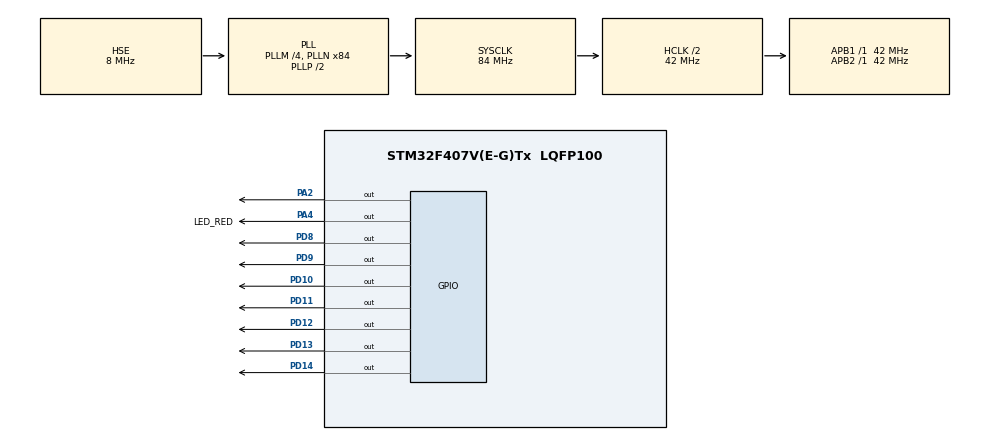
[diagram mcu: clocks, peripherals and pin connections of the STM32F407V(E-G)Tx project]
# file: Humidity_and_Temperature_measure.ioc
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Mcu.Family=STM32F4
Mcu.Name=STM32F407V(E-G)Tx
Mcu.Package=LQFP100
NVIC.PriorityGroup=NVIC_PRIORITYGROUP_4
NVIC.TIM2_IRQn=true\:0\:0\:false\:false\:true\:true\:true
PA13.Mode=Serial_Wire
PA13.Signal=SYS_JTMS-SWDIO
PA14.Mode=Serial_Wire
PA14.Signal=SYS_JTCK-SWCLK
PA2.Signal=GPIO_Output
PA4.GPIO_Label=LED_RED
PA4.Signal=GPIO_Output
PD10.Signal=GPIO_Output
PD11.Signal=GPIO_Output
PD12.Signal=GPIO_Output
PD13.Signal=GPIO_Output
PD14.Signal=GPIO_Output
PD8.Signal=GPIO_Output
PD9.Signal=GPIO_Output
PH0-OSC_IN.Mode=HSE-External-Oscillator
PH0-OSC_IN.Signal=RCC_OSC_IN
PH1-OSC_OUT.Mode=HSE-External-Oscillator
PH1-OSC_OUT.Signal=RCC_OSC_OUT
ProjectManager.HeapSize=0x200
ProjectManager.StackSize=0x400
ProjectManager.TargetToolchain=STM32CubeIDE
RCC.48MHZClocksFreq_Value=42000000
RCC.AHBCLKDivider=RCC_SYSCLK_DIV2
RCC.AHBFreq_Value=42000000
RCC.APB1Freq_Value=42000000
RCC.APB1TimFreq_Value=42000000
RCC.APB2Freq_Value=42000000
RCC.APB2TimFreq_Value=42000000
RCC.CortexFreq_Value=42000000
RCC.HCLKFreq_Value=42000000
RCC.HSE_VALUE=8000000
RCC.HSI_VALUE=16000000
RCC.LSE_VALUE=32768
RCC.PLLM=4
RCC.PLLN=84
RCC.PLLSourceVirtual=RCC_PLLSOURCE_HSE
RCC.SYSCLKFreq_VALUE=84000000
RCC.SYSCLKSource=RCC_SYSCLKSOURCE_PLLCLK
RCC.VCOOutputFreq_Value=168000000
TIM2.Period=0xffff-1
TIM2.Prescaler=42-1
VP_TIM2_VS_ClockSourceINT.Mode=Internal
board=custom

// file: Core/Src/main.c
/* USER CODE BEGIN Header */
/**
  ******************************************************************************
  * @file           : main.c
  * @brief          : Main program body
  ******************************************************************************
  * @attention
  *
  * <h2><center>&copy; Copyright (c) 2024 STMicroelectronics.
  * All rights reserved.</center></h2>
  *
  * This software component is licensed by ST under BSD 3-Clause license,
  * the "License"; You may not use this file except in compliance with the
  * License. You may obtain a copy of the License at:
  *                        opensource.org/licenses/BSD-3-Clause
  *
  ******************************************************************************
  */
/* USER CODE END Header */
#include "main.h"

/* USER CODE BEGIN Includes */
#include "software_timer.h"
#include "LiquidCrystal.h"
#include "DHT11.h"
#include "stdio.h"
/* USER CODE END Includes */

TIM_HandleTypeDef htim2;

void SystemClock_Config(void);
static void MX_GPIO_Init(void);
static void MX_TIM2_Init(void);

/* USER CODE BEGIN 0 */

/********************************DHT11 VARIABLES**********************************/
uint8_t RHI, RHD, TCI, TCD, SUM;
float tCelsius = 0;
float tFahrenheit = 0;
float RH = 0;

/* USER CODE END 0 */

int main(void)
{

  /* MCU Configuration--------------------------------------------------------*/

  /* Reset of all peripherals, Initializes the Flash interface and the Systick. */
  HAL_Init();

  /* Configure the system clock */
  SystemClock_Config();

  /* Initialize all configured peripherals */
  MX_GPIO_Init();
  MX_TIM2_Init();
  /* USER CODE BEGIN 2 */
  HAL_TIM_Base_Start_IT(&htim2);
  HAL_TIM_Base_Start(&htim2);
  LiquidCrystal(GPIOD, GPIO_PIN_8, GPIO_PIN_9, GPIO_PIN_10, GPIO_PIN_11, GPIO_PIN_12, GPIO_PIN_13, GPIO_PIN_14);
  begin(16, 2);
  clear();
  print("Hello World!");
  /* USER CODE END 2 */

  /* Infinite loop */
  /* USER CODE BEGIN WHILE */
  HAL_Delay(5000);
  clear();
//  char str1[30];
  while (1)
  {
	  display_Temp(tCelsius);
	  display_Humid(RH);

	  if(DHT11_Start())
	  {
		RHI = DHT11_Read(); // Relative humidity integral
		RHD = DHT11_Read(); // Relative humidity decimal
		TCI = DHT11_Read(); // Celsius integral
		TCD = DHT11_Read(); // Celsius decimal
		SUM = DHT11_Read(); // Check sum
		if (RHI + RHD + TCI + TCD == SUM)
		{
		  // Can use RHI and TCI for any purposes if whole number only needed
		  tCelsius = (float)TCI + (float)(TCD/10.0);
		  tFahrenheit = tCelsius * 9/5 + 32;
		  RH = (float)RHI + (float)(RHD/10.0);
		  // Can use tCelsius, tFahrenheit and RH for any purposes
		}
	  }
	  HAL_GPIO_TogglePin(LED_RED_GPIO_Port, LED_RED_Pin);
	  HAL_Delay(2000);
    /* USER CODE END WHILE */

  }
}

void SystemClock_Config(void)
{
  RCC_OscInitTypeDef RCC_OscInitStruct = {0};
  RCC_ClkInitTypeDef RCC_ClkInitStruct = {0};

  /** Configure the main internal regulator output voltage
  */
  __HAL_RCC_PWR_CLK_ENABLE();
  __HAL_PWR_VOLTAGESCALING_CONFIG(PWR_REGULATOR_VOLTAGE_SCALE1);
  /** Initializes the RCC Oscillators according to the specified parameters
  * in the RCC_OscInitTypeDef structure.
  */
  RCC_OscInitStruct.OscillatorType = RCC_OSCILLATORTYPE_HSE;
  RCC_OscInitStruct.HSEState = RCC_HSE_ON;
  RCC_OscInitStruct.PLL.PLLState = RCC_PLL_ON;
  RCC_OscInitStruct.PLL.PLLSource = RCC_PLLSOURCE_HSE;
  RCC_OscInitStruct.PLL.PLLM = 4;
  RCC_OscInitStruct.PLL.PLLN = 84;
  RCC_OscInitStruct.PLL.PLLP = RCC_PLLP_DIV2;
  RCC_OscInitStruct.PLL.PLLQ = 4;
  if (HAL_RCC_OscConfig(&RCC_OscInitStruct) != HAL_OK)
  {
    Error_Handler();
  }
  /** Initializes the CPU, AHB and APB buses clocks
  */
  RCC_ClkInitStruct.ClockType = RCC_CLOCKTYPE_HCLK|RCC_CLOCKTYPE_SYSCLK
                              |RCC_CLOCKTYPE_PCLK1|RCC_CLOCKTYPE_PCLK2;
  RCC_ClkInitStruct.SYSCLKSource = RCC_SYSCLKSOURCE_PLLCLK;
  RCC_ClkInitStruct.AHBCLKDivider = RCC_SYSCLK_DIV2;
  RCC_ClkInitStruct.APB1CLKDivider = RCC_HCLK_DIV1;
  RCC_ClkInitStruct.APB2CLKDivider = RCC_HCLK_DIV1;

  if (HAL_RCC_ClockConfig(&RCC_ClkInitStruct, FLASH_LATENCY_1) != HAL_OK)
  {
    Error_Handler();
  }
}

static void MX_TIM2_Init(void)
{

  TIM_ClockConfigTypeDef sClockSourceConfig = {0};
  TIM_MasterConfigTypeDef sMasterConfig = {0};

  htim2.Instance = TIM2;
  htim2.Init.Prescaler = 42-1;
  htim2.Init.CounterMode = TIM_COUNTERMODE_UP;
  htim2.Init.Period = 0xffff-1;
  htim2.Init.ClockDivision = TIM_CLOCKDIVISION_DIV1;
  htim2.Init.AutoReloadPreload = TIM_AUTORELOAD_PRELOAD_DISABLE;
  if (HAL_TIM_Base_Init(&htim2) != HAL_OK)
  {
    Error_Handler();
  }
  sClockSourceConfig.ClockSource = TIM_CLOCKSOURCE_INTERNAL;
  if (HAL_TIM_ConfigClockSource(&htim2, &sClockSourceConfig) != HAL_OK)
  {
    Error_Handler();
  }
  sMasterConfig.MasterOutputTrigger = TIM_TRGO_RESET;
  sMasterConfig.MasterSlaveMode = TIM_MASTERSLAVEMODE_DISABLE;
  if (HAL_TIMEx_MasterConfigSynchronization(&htim2, &sMasterConfig) != HAL_OK)
  {
    Error_Handler();
  }

}

static void MX_GPIO_Init(void)
{
  GPIO_InitTypeDef GPIO_InitStruct = {0};

  /* GPIO Ports Clock Enable */
  __HAL_RCC_GPIOH_CLK_ENABLE();
  __HAL_RCC_GPIOA_CLK_ENABLE();
  __HAL_RCC_GPIOD_CLK_ENABLE();

  /*Configure GPIO pin Output Level */
  HAL_GPIO_WritePin(GPIOA, GPIO_PIN_2|LED_RED_Pin, GPIO_PIN_RESET);

  /*Configure GPIO pin Output Level */
  HAL_GPIO_WritePin(GPIOD, GPIO_PIN_8|GPIO_PIN_9|GPIO_PIN_10|GPIO_PIN_11
                          |GPIO_PIN_12|GPIO_PIN_13|GPIO_PIN_14, GPIO_PIN_RESET);

  /*Configure GPIO pins : PA2 LED_RED_Pin */
  GPIO_InitStruct.Pin = GPIO_PIN_2|LED_RED_Pin;
  GPIO_InitStruct.Mode = GPIO_MODE_OUTPUT_PP;
  GPIO_InitStruct.Pull = GPIO_NOPULL;
  GPIO_InitStruct.Speed = GPIO_SPEED_FREQ_LOW;
  HAL_GPIO_Init(GPIOA, &GPIO_InitStruct);

  /*Configure GPIO pins : PD8 PD9 PD10 PD11
                           PD12 PD13 PD14 */
  GPIO_InitStruct.Pin = GPIO_PIN_8|GPIO_PIN_9|GPIO_PIN_10|GPIO_PIN_11
                          |GPIO_PIN_12|GPIO_PIN_13|GPIO_PIN_14;
  GPIO_InitStruct.Mode = GPIO_MODE_OUTPUT_PP;
  GPIO_InitStruct.Pull = GPIO_NOPULL;
  GPIO_InitStruct.Speed = GPIO_SPEED_FREQ_LOW;
  HAL_GPIO_Init(GPIOD, &GPIO_InitStruct);

}

/* USER CODE BEGIN 4 */
void HAL_TIM_PeriodElapsedCallback(TIM_HandleTypeDef *htim) {
	timerRun();
}
/* USER CODE END 4 */

void Error_Handler(void)
{
  __disable_irq();
  while (1)
  {
  }
}

/************************ (C) COPYRIGHT STMicroelectronics *****END OF FILE****/
